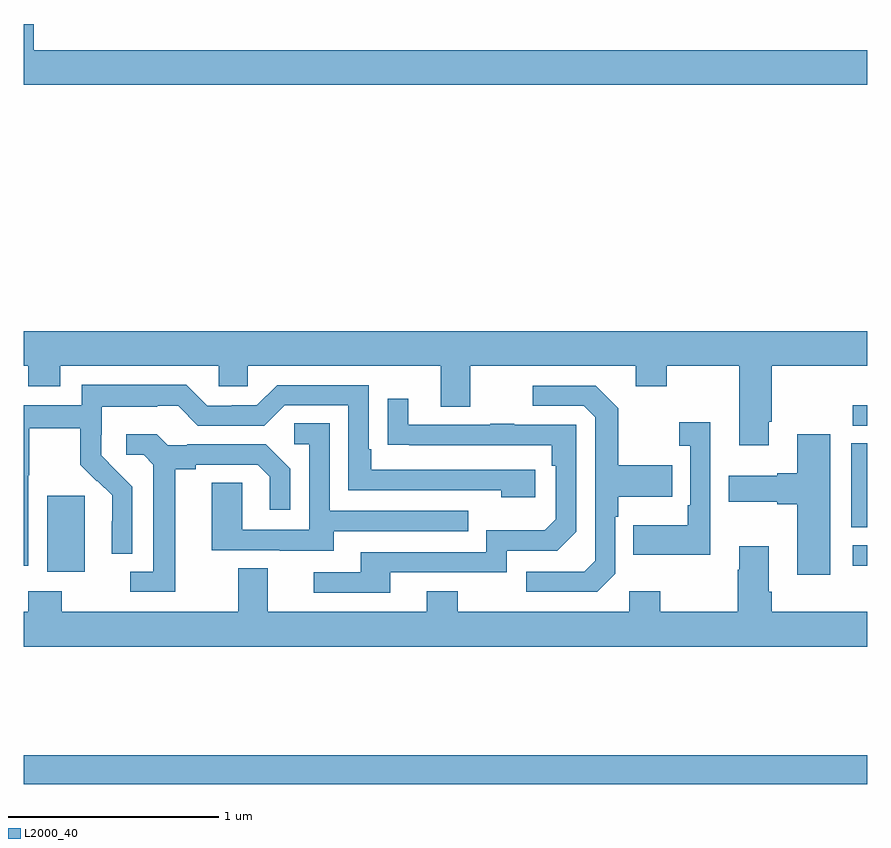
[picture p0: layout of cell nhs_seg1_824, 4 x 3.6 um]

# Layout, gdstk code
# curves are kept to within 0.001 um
import gdstk
lib = gdstk.Library(unit=1e-6, precision=1e-09)
def R(c, l, rs):  # rectangles x0, y0, x1, y1
    for r in rs: c.add(gdstk.rectangle(r[:2], r[2:], *l))
def P(c, l, *ps):  # polygons
    for p in ps: c.add(gdstk.Polygon(p, *l))
L2000_40 = (2000, 40)

nhs_seg1_824 = lib.new_cell('nhs_seg1_824')
R(nhs_seg1_824, L2000_40, [(155,568.396,159,568.532), (155.111,569.402,155.29,569.763), (158.931,569.431,159,569.529), (158.924,569.614,159,570.011), (158.931,570.096,159,570.192)])
P(nhs_seg1_824, L2000_40, [(159,571.876),(155.048,571.876),(155.048,572),(155,572),(155,571.712),(159,571.712)],
  [(158.533,570.115),(158.546,570.115),(158.546,570.38),(159,570.38),(159,570.544),(155,570.544),(155,570.38),(155.021,570.38),(155.021,570.281),(155.173,570.281),(155.173,570.38),(155.925,570.38),(155.925,570.282),(156.063,570.282),(156.063,570.38),(156.977,570.38),(156.977,570.186),(157.117,570.186),(157.117,570.38),(157.901,570.38),(157.901,570.281),(158.049,570.281),(158.049,570.38),(158.393,570.38),(158.393,570.003),(158.533,570.003)],
  [(155.022,569.86),(155.025,569.86),(155.025,570.084),(155.269,570.084),(155.269,569.909),(155.346,569.832),(155.349,569.835),(155.42,569.765),(155.42,569.642),(155.418,569.642),(155.418,569.488),(155.514,569.488),(155.514,569.806),(155.368,569.954),(155.368,570.051),(155.37,570.051),(155.37,570.185),(155.633,570.185),(155.633,570.189),(155.733,570.189),(155.826,570.096),(156.141,570.096),(156.237,570.192),(156.54,570.192),(156.54,569.79),(157.265,569.79),(157.265,569.756),(157.426,569.756),(157.426,569.886),(156.649,569.886),(156.649,569.983),(156.636,569.983),(156.636,570.288),(156.201,570.288),(156.105,570.192),(155.987,570.192),(155.987,570.189),(155.871,570.189),(155.771,570.289),(155.274,570.289),(155.274,570.192),(155,570.192),(155,569.431),(155.022,569.431)],
  [(157.806,569.394),(157.806,569.663),(157.819,569.663),(157.819,569.759),(158.075,569.759),(158.075,569.907),(157.819,569.907),(157.819,570.179),(157.713,570.285),(157.413,570.285),(157.413,570.189),(157.656,570.189),(157.71,570.135),(157.71,569.454),(157.659,569.403),(157.383,569.403),(157.383,569.307),(157.719,569.307)],
  [(156.739,569.4),(157.29,569.4),(157.29,569.502),(157.53,569.502),(157.62,569.592),(157.62,570.099),(157.325,570.099),(157.325,570.104),(157.213,570.104),(157.213,570.099),(156.823,570.099),(156.823,570.223),(156.727,570.223),(156.727,570.004),(157.504,570.003),(157.504,569.906),(157.524,569.906),(157.524,569.652),(157.471,569.599),(157.194,569.599),(157.194,569.496),(156.599,569.496),(156.599,569.4),(156.375,569.4),(156.375,569.304),(156.739,569.304)],
  [(158.256,570.112),(158.109,570.112),(158.109,569.999),(158.16,569.999),(158.16,569.719),(158.148,569.719),(158.148,569.623),(157.891,569.623),(157.891,569.483),(158.256,569.483)],
  [(156.469,569.595),(157.109,569.595),(157.109,569.691),(156.45,569.691),(156.45,570.107),(156.282,570.107),(156.282,570.006),(156.354,570.006),(156.354,569.601),(156.036,569.601),(156.036,569.825),(155.891,569.825),(155.891,569.505),(156.215,569.505),(156.215,569.501),(156.469,569.501)],
  [(158.824,570.055),(158.669,570.055),(158.669,569.87),(158.573,569.87),(158.573,569.857),(158.343,569.857),(158.343,569.735),(158.573,569.735),(158.573,569.723),(158.669,569.723),(158.669,569.388),(158.824,569.388)],
  [(155.719,569.888),(155.815,569.888),(155.815,569.91),(156.11,569.91),(156.167,569.853),(156.167,569.697),(156.264,569.697),(156.264,569.89),(156.148,570.006),(155.776,570.006),(155.776,570.003),(155.682,570.003),(155.63,570.055),(155.487,570.055),(155.487,569.958),(155.568,569.958),(155.615,569.911),(155.615,569.403),(155.505,569.403),(155.505,569.307),(155.719,569.307)],
  [(159,569.212),(158.546,569.212),(158.546,569.308),(158.533,569.308),(158.533,569.524),(158.393,569.524),(158.393,569.411),(158.386,569.411),(158.386,569.212),(158.019,569.212),(158.019,569.311),(157.872,569.311),(157.872,569.212),(157.059,569.212),(157.059,569.311),(156.911,569.311),(156.911,569.212),(156.157,569.212),(156.157,569.42),(156.017,569.42),(156.017,569.212),(155.181,569.212),(155.181,569.311),(155.021,569.311),(155.021,569.212),(155,569.212),(155,569.048),(159,569.048)])

lib.write_gds('nhs_seg1_824.gds')
